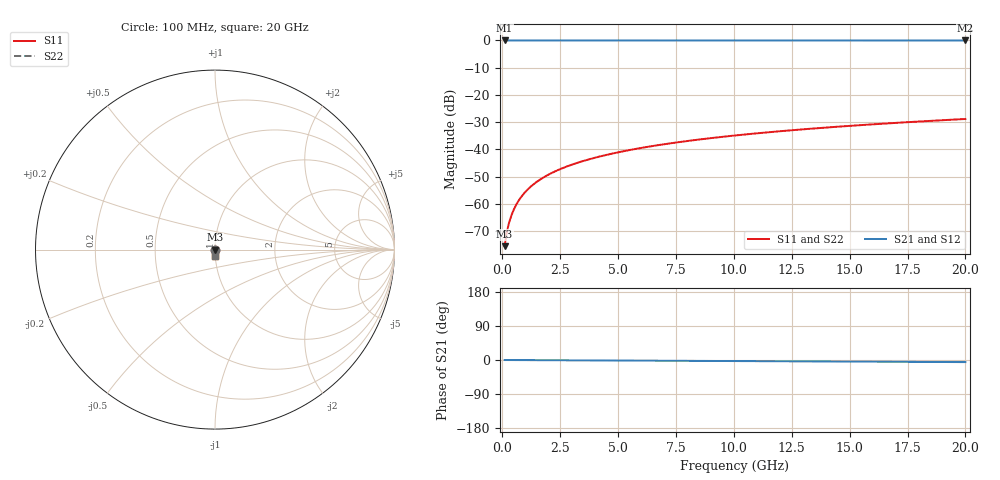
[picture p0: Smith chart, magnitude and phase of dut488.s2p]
! Touchstone file exported from HFSS 2026.1.0
!  File:  C:/ffzhzh/LocalFiles/Ansys_Project_Files/temp_train_TSV_488_1783022727_4048.aedt
!  Generated:  04:07:05 AM Jul  3, 2026
!  Design:  TSV
!  Project:  temp_train_TSV_488_1783022727_4048
! Variables:
!  h_bsmrdl = 2um
!  h_ox = 20um
!  h_rdl = 5um
!  h_sub = 51.8um
!  h_tmrdl = 5um
!  h_tsv = 51.8um
!  h_via = 3um
!  l_bsmrdl = 300um
!  l_sub = 423.64um
!  l_tmrdl = 200um
!  m_sub = 200um
!  pitch = 34.08um
!  r_tsv = 11.82um
!  s_tmrdl = 10um
!  w_bsmrdl = 18um
!  w_sub = 500um
!  w_tmrdl = 12um
!  x_tsv_center1 = 206um
!  x_tsv_center2 = 524um
!  x_tsv_center3 = 736um
!  x_tsv_center4 = 1054um
!  x_tsv_center5 = 1266um
!  x_tsv_center6 = 1584um
# GHz S MA R 50.000000
! Terminal data exported
! Port[1] = TSV1_1_T1
! Port[2] = TSV1_1_T2
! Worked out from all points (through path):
!   200 points, 100 MHz to 20 GHz, reference 50 ohm
!   highest |S21| = 0.00 dB at 100 MHz (marker M1); lowest = 0.0 dB at 20 GHz (marker M2)
!   lowest |S11| = -75.6 dB at 100 MHz (marker M3), VSWR 1.00, Z = 50 - j0.0147 ohm
!   |S11| at or under -10 dB: start of sweep to end of sweep
!   |S22| runs from -75.6 to -28.8 dB; largest |S21 - S12| = 3.7e-15
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0.1  0.0001668 -61.6  0.9999 -0.0  0.9999 -0.0  0.0001668 -61.6
! Gamma 0 0 0 0
! Port Impedance 50 0 50 0
0.2  0.0003099 -73.1  0.9999 -0.1  0.9999 -0.1  0.0003099 -73.1
0.3  0.0004634 -76.8  0.9999 -0.1  0.9999 -0.1  0.0004634 -76.8
0.4  0.0006239 -78.6  0.9999 -0.1  0.9999 -0.1  0.0006239 -78.6
0.5  0.0007899 -79.6  0.9999 -0.1  0.9999 -0.1  0.0007899 -79.6
0.7  0.001133 -81.1  0.9998 -0.2  0.9998 -0.2  0.001133 -81.1
0.8  0.001309 -81.7  0.9998 -0.2  0.9998 -0.2  0.001309 -81.7
1  0.001663 -82.7  0.9998 -0.3  0.9998 -0.3  0.001663 -82.7
1.2  0.002019 -83.5  0.9998 -0.3  0.9998 -0.3  0.002019 -83.5
1.4  0.002376 -84.2  0.9997 -0.4  0.9997 -0.4  0.002376 -84.2
1.7  0.002911 -85.0  0.9997 -0.5  0.9997 -0.5  0.002911 -85.0
2  0.003446 -85.6  0.9997 -0.6  0.9997 -0.6  0.003446 -85.6
2.7  0.004695 -86.7  0.9997 -0.8  0.9997 -0.8  0.004695 -86.7
3.5  0.006125 -87.5  0.9996 -1.0  0.9996 -1.0  0.006125 -87.5
4.2  0.007381 -88.0  0.9996 -1.2  0.9996 -1.2  0.007381 -88.0
5  0.008822 -88.5  0.9995 -1.4  0.9995 -1.4  0.008822 -88.5
6.8  0.01208 -89.4  0.9994 -1.9  0.9994 -1.9  0.01208 -89.4
8.3  0.01481 -90.0  0.9993 -2.3  0.9993 -2.3  0.01481 -90.0
10.1  0.01808 -90.8  0.9992 -2.8  0.9992 -2.8  0.01808 -90.8
13.4  0.02409 -92.0  0.999 -3.7  0.999 -3.7  0.02409 -92.0
16.7  0.03011 -93.1  0.9987 -4.7  0.9987 -4.7  0.03011 -93.1
20  0.03613 -94.1  0.9984 -5.6  0.9984 -5.6  0.03613 -94.1
